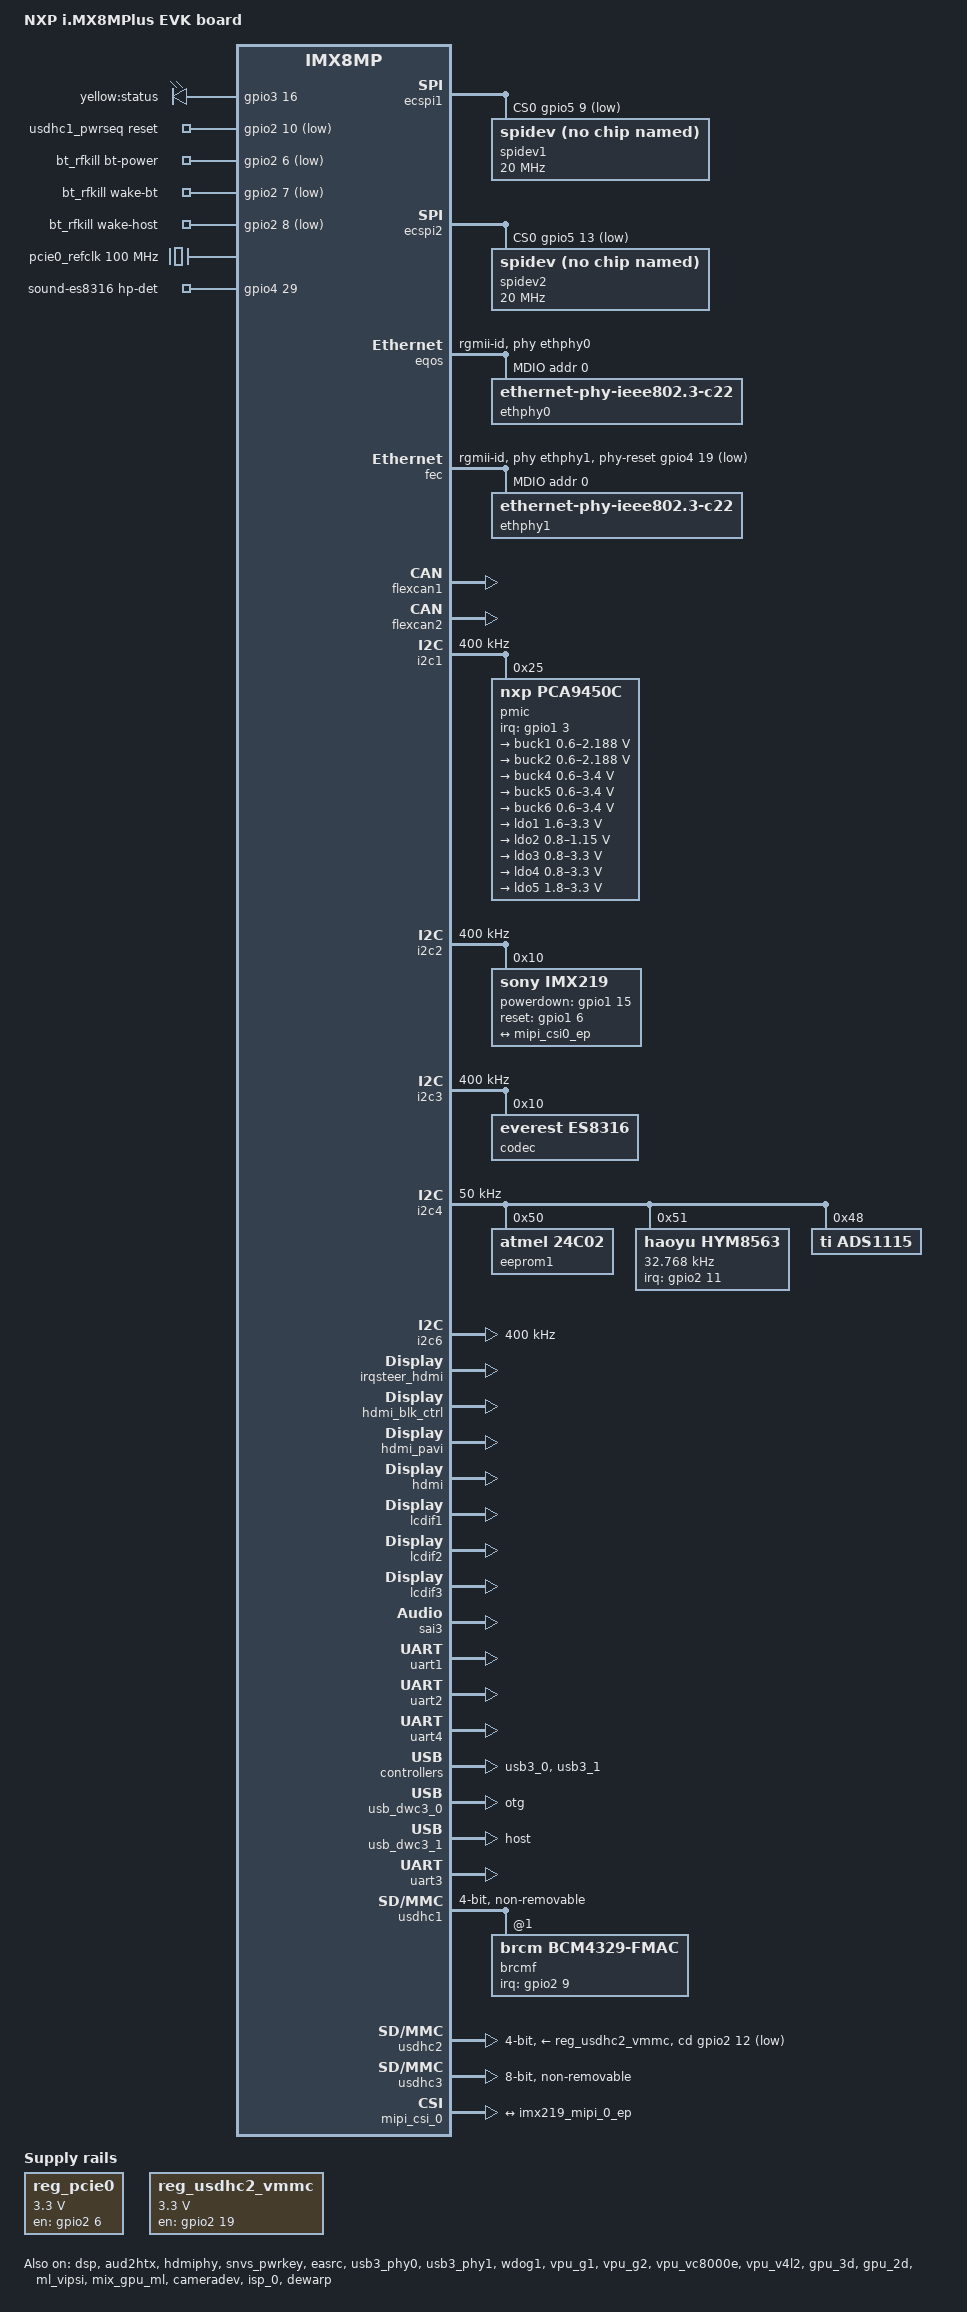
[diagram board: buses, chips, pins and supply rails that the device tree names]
// SPDX-License-Identifier: (GPL-2.0+ OR MIT)
/*
 * Copyright 2019 NXP
 */

/dts-v1/;

#include <dt-bindings/phy/phy-imx8-pcie.h>
#include <dt-bindings/usb/pd.h>
#include "imx8mp.dtsi"

/ {
	model = "NXP i.MX8MPlus EVK board";
	compatible = "fsl,imx8mp-evk", "fsl,imx8mp";

	chosen {
		stdout-path = &uart2;
	};

	gpio-leds {
		compatible = "gpio-leds";
		pinctrl-names = "default";
		pinctrl-0 = <&pinctrl_gpio_led>;

		status {
			label = "yellow:status";
			gpios = <&gpio3 16 GPIO_ACTIVE_HIGH>;
			default-state = "on";
		};
	};
/*
	memory@40000000 {
		device_type = "memory";
		reg = <0x0 0x40000000 0 0xc0000000>,
		      <0x1 0x00000000 0 0xc0000000>;
	}; */

	usdhc1_pwrseq: usdhc1_pwrseq {
		compatible = "mmc-pwrseq-simple";
		pinctrl-names = "default";
		pinctrl-0 = <&pinctrl_wlan_reg_on>;  
		reset-gpios = <&gpio2 10 GPIO_ACTIVE_LOW>;
  	};

	bt_rfkill {
		compatible = "fsl,mxc_bt_rfkill";
		pinctrl-names = "default";
		pinctrl-0 = <&pinctrl_bt_ctrl>;
		bt-power-gpios = <&gpio2 6 GPIO_ACTIVE_LOW>;
		wake-bt-gpios =  <&gpio2 7 GPIO_ACTIVE_LOW>;
		wake-host-gpios = <&gpio2 8 GPIO_ACTIVE_LOW>;
		status ="okay";
	};

	pcie0_refclk: pcie0-refclk {
		compatible = "fixed-clock";
		#clock-cells = <0>;
		clock-frequency = <100000000>;
	};
/*
	reg_can1_stby: regulator-can1-stby {
		compatible = "regulator-fixed";
		regulator-name = "can1-stby";
		pinctrl-names = "default";
		pinctrl-0 = <&pinctrl_flexcan1_reg>;
		regulator-min-microvolt = <3300000>;
		regulator-max-microvolt = <3300000>;
		gpio = <&gpio5 5 GPIO_ACTIVE_HIGH>;
		enable-active-high;
	};

	reg_can2_stby: regulator-can2-stby {
		compatible = "regulator-fixed";
		regulator-name = "can2-stby";
		pinctrl-names = "default";
		pinctrl-0 = <&pinctrl_flexcan2_reg>;
		regulator-min-microvolt = <3300000>;
		regulator-max-microvolt = <3300000>;
		gpio = <&gpio4 27 GPIO_ACTIVE_HIGH>;
		enable-active-high;
	};
*/
	reg_pcie0: regulator-pcie {
		compatible = "regulator-fixed";
		pinctrl-names = "default";
		pinctrl-0 = <&pinctrl_pcie0_reg>;
		regulator-name = "MPCIE_3V3";
		regulator-min-microvolt = <3300000>;
		regulator-max-microvolt = <3300000>;
		gpio = <&gpio2 6 GPIO_ACTIVE_HIGH>;
		enable-active-high;
		regulator-always-on;
	};
/*
	reg_usb_vbus: regulator-vbus {
		compatible = "regulator-fixed";
		pinctrl-names = "default";
		pinctrl-0 = <&pinctrl_usb1_vbus>;
		regulator-name = "USB_VBUS";
		regulator-min-microvolt = <5000000>;
		regulator-max-microvolt = <5000000>;
		gpio = <&gpio1 14 GPIO_ACTIVE_HIGH>;
		enable-active-high;
		regulator-always-on;
	};
*/
	reg_usdhc2_vmmc: regulator-usdhc2 {
		compatible = "regulator-fixed";
		pinctrl-names = "default";
		pinctrl-0 = <&pinctrl_reg_usdhc2_vmmc>;
		regulator-name = "VSD_3V3";
		regulator-min-microvolt = <3300000>;
		regulator-max-microvolt = <3300000>;
		gpio = <&gpio2 19 GPIO_ACTIVE_HIGH>;
		enable-active-high;
	};
/*
	reg_audio_pwr: regulator-audio-pwr {
		compatible = "regulator-fixed";
		regulator-name = "audio-pwr";
		regulator-min-microvolt = <3300000>;
		regulator-max-microvolt = <3300000>;
		gpio = <&gpio4 29 GPIO_ACTIVE_HIGH>;
		enable-active-high;
		regulator-always-on;
	};

	bt_sco_codec: bt_sco_codec {
		#sound-dai-cells = <1>;
		compatible = "linux,bt-sco";
	};

	sound-bt-sco {
		compatible = "simple-audio-card";
		simple-audio-card,name = "bt-sco-audio";
		simple-audio-card,format = "dsp_a";
		simple-audio-card,bitclock-inversion;
		simple-audio-card,frame-master = <&btcpu>;
		simple-audio-card,bitclock-master = <&btcpu>;

		btcpu: simple-audio-card,cpu {
			sound-dai = <&sai2>;
			dai-tdm-slot-num = <2>;
			dai-tdm-slot-width = <16>;
		};

		simple-audio-card,codec {
			sound-dai = <&bt_sco_codec 1>;
		};
	};
*/
	sound-hdmi {
		compatible = "fsl,imx-audio-hdmi";
		model = "audio-hdmi";
		audio-cpu = <&aud2htx>;
		hdmi-out;
		constraint-rate = <44100>,
				<88200>,
				<176400>,
				<32000>,
				<48000>,
				<96000>,
				<192000>;
		status = "okay";
	};
/*
	sound-wm8960 {
		compatible = "fsl,imx-audio-wm8960";
		model = "wm8960-audio";
		audio-cpu = <&sai3>;
		audio-codec = <&codec>;
		audio-asrc = <&easrc>;
		hp-det-gpio = <&gpio4 28 0>;
		audio-routing =
			"Headphone Jack", "HP_L",
			"Headphone Jack", "HP_R",
			"Ext Spk", "SPK_LP",
			"Ext Spk", "SPK_LN",
			"Ext Spk", "SPK_RP",
			"Ext Spk", "SPK_RN",
			"LINPUT1", "Mic Jack",
			"LINPUT3", "Mic Jack",
			"Mic Jack", "MICB";
	};

	sound-micfil {
		compatible = "fsl,imx-audio-card";
		model = "micfil-audio";
		pri-dai-link {
			link-name = "micfil hifi";
			format = "i2s";
			cpu {
				sound-dai = <&micfil>;
			};
		};
	};

	sound-xcvr {
		compatible = "fsl,imx-audio-card";
		model = "imx-audio-xcvr";
		pri-dai-link {
			link-name = "XCVR PCM";
			cpu {
				sound-dai = <&xcvr>;
			};
		};
	};
*/
	sound-es8316 {
		compatible = "fsl,imx-audio-es8316";
		model = "es8316-audio";
		audio-cpu = <&sai3>;
		audio-codec = <&codec>;
		//audio-asrc = <&easrc>;
		format = "i2s";
		hp-det-gpio = <&gpio4 29 GPIO_ACTIVE_HIGH>;
	//	mic-det-gpio = <&gpio4 29 GPIO_ACTIVE_HIGH>;
		//jack-gpio = <&gpio4 29 GPIO_ACTIVE_HIGH>;
		//audio-widgets = 
			//"Microphone", "Mic Jack",
			//"Headphone", "Headphone Jack";

		audio-routing =
			"Mic Jack", "MIC2",
			//"MIC2", "Mic Jack",
			//"MIC2", "DMIC",
			"Headphone Jack", "HPOL",
			"Headphone Jack", "HPOR";
	};

	lvds_backlight: lvds_backlight {
		compatible = "pwm-backlight";
		pwms = <&pwm2 0 100000 0>;
		status = "disabled";

		brightness-levels = < 0  1  2  3  4  5  6  7  8  9
				     10 11 12 13 14 15 16 17 18 19
				     20 21 22 23 24 25 26 27 28 29
				     30 31 32 33 34 35 36 37 38 39
				     40 41 42 43 44 45 46 47 48 49
				     50 51 52 53 54 55 56 57 58 59
				     60 61 62 63 64 65 66 67 68 69
				     70 71 72 73 74 75 76 77 78 79
				     80 81 82 83 84 85 86 87 88 89
				     90 91 92 93 94 95 96 97 98 99
				    100>;
		default-brightness-level = <80>;
	};
/*
	cbtl04gp {
		compatible = "nxp,cbtl04gp";
		pinctrl-names = "default";
		pinctrl-0 = <&pinctrl_typec_mux>;
		switch-gpios = <&gpio4 20 GPIO_ACTIVE_LOW>;
		orientation-switch;

		port {
			usb3_data_ss: endpoint {
				remote-endpoint = <&typec_con_ss>;
			};
		};
	};
*/
};

&flexspi {
	pinctrl-names = "default";
	pinctrl-0 = <&pinctrl_flexspi0>;
	status = "disabled";

	flash@0 {
		compatible = "jedec,spi-nor";
		reg = <0>;
		spi-max-frequency = <80000000>;
		spi-tx-bus-width = <1>;
		spi-rx-bus-width = <4>;
	};
};

&A53_0 {
	cpu-supply = <&buck2>;
};

&A53_1 {
	cpu-supply = <&buck2>;
};

&A53_2 {
	cpu-supply = <&buck2>;
};

&A53_3 {
	cpu-supply = <&buck2>;
};

&dsp {
	status = "okay";
};

&pwm1 {
	pinctrl-names = "default";
	pinctrl-0 = <&pinctrl_pwm1>;
	status = "disabled";
};

&pwm2 {
	pinctrl-names = "default";
	pinctrl-0 = <&pinctrl_pwm2>;
	status = "disabled";
};
/*
&pwm4 {
	pinctrl-names = "default";
	pinctrl-0 = <&pinctrl_pwm4>;
	status = "disabled";
};
*/
&aud2htx {
	status = "okay";
};

&ecspi1 {
	#address-cells = <1>;
	#size-cells = <0>;
	fsl,spi-num-chipselects = <1>;
	pinctrl-names = "default";
	pinctrl-0 = <&pinctrl_ecspi1 &pinctrl_ecspi1_cs>;
	cs-gpios = <&gpio5 9 GPIO_ACTIVE_LOW>;
	status = "okay";
	spidev1: spi@0 {
		reg = <0>;
		compatible = "rohm,dh2228fv";
		spi-max-frequency = <20000000>;
	};
};

&ecspi2 {
	#address-cells = <1>;
	#size-cells = <0>;
	fsl,spi-num-chipselects = <1>;
	pinctrl-names = "default";
	pinctrl-0 = <&pinctrl_ecspi2 &pinctrl_ecspi2_cs>;
	cs-gpios = <&gpio5 13 GPIO_ACTIVE_LOW>;
	status = "okay";

	spidev2: spi@0 {
		reg = <0>;
		compatible = "rohm,dh2228fv";
		spi-max-frequency = <20000000>;
	};
};

&eqos {
	pinctrl-names = "default";
	pinctrl-0 = <&pinctrl_eqos>;
	phy-mode = "rgmii-id";
	phy-handle = <&ethphy0>;
	snps,force_thresh_dma_mode;
	snps,mtl-tx-config = <&mtl_tx_setup>;
	snps,mtl-rx-config = <&mtl_rx_setup>;
	snps,reset-gpios = <&gpio4 18 GPIO_ACTIVE_LOW>;
	snps,reset-delays-us = <10 20 200000>;
	status = "okay";

	mdio {
		compatible = "snps,dwmac-mdio";
		#address-cells = <1>;
		#size-cells = <0>;
		ethphy0: ethernet-phy@0 {
			compatible = "ethernet-phy-ieee802.3-c22";
			reg = <0>;
			// eee-broken-1000t;
			// reset-gpios = <&gpio4 22 GPIO_ACTIVE_LOW>;
			// reset-assert-us = <10000>;
			// reset-deassert-us = <80000>;
			// realtek,clkout-disable;
			at803x,led-act-blind-workaround;
			at803x,eee-disabled;
			at803x,vddio-1p8v;
		};
	};

	mtl_tx_setup: tx-queues-config {
		snps,tx-queues-to-use = <5>;
		snps,tx-sched-sp;

		queue0 {
			snps,dcb-algorithm;
			snps,priority = <0x1>;
		};

		queue1 {
			snps,dcb-algorithm;
			snps,priority = <0x2>;
		};

		queue2 {
			snps,dcb-algorithm;
			snps,priority = <0x4>;
		};

		queue3 {
			snps,dcb-algorithm;
			snps,priority = <0x8>;
		};

		queue4 {
			snps,dcb-algorithm;
			snps,priority = <0xf0>;
		};
	};

	mtl_rx_setup: rx-queues-config {
		snps,rx-queues-to-use = <5>;
		snps,rx-sched-sp;

		queue0 {
			snps,dcb-algorithm;
			snps,priority = <0x1>;
			snps,map-to-dma-channel = <0>;
		};

		queue1 {
			snps,dcb-algorithm;
			snps,priority = <0x2>;
			snps,map-to-dma-channel = <1>;
		};

		queue2 {
			snps,dcb-algorithm;
			snps,priority = <0x4>;
			snps,map-to-dma-channel = <2>;
		};

		queue3 {
			snps,dcb-algorithm;
			snps,priority = <0x8>;
			snps,map-to-dma-channel = <3>;
		};

		queue4 {
			snps,dcb-algorithm;
			snps,priority = <0xf0>;
			snps,map-to-dma-channel = <4>;
		};
	};
};

&fec {
	pinctrl-names = "default";
	pinctrl-0 = <&pinctrl_fec>;
	phy-mode = "rgmii-id";
	phy-handle = <&ethphy1>;
	fsl,magic-packet;
	fsl,rgmii_rxc_dly;
	phy-reset-gpios = <&gpio4 19 GPIO_ACTIVE_LOW>;
	phy-reset-duration = <10>;
	phy-reset-post-delay = <150>;
	status = "okay";

	mdio {
		#address-cells = <1>;
		#size-cells = <0>;

		ethphy1: ethernet-phy@0 {
			compatible = "ethernet-phy-ieee802.3-c22";
			reg = <0>;
			//eee-broken-1000t;
			//reset-gpios = <&gpio4 2 GPIO_ACTIVE_LOW>;
			//reset-assert-us = <10000>;
			//reset-deassert-us = <80000>;
			//realtek,aldps-enable;
			//realtek,clkout-disable;
			at803x,led-act-blind-workaround;
			at803x,eee-disabled;
			at803x,vddio-1p8v;
		};
	};
};

&flexcan1 {
	pinctrl-names = "default";
	pinctrl-0 = <&pinctrl_flexcan1>;
	//xceiver-supply = <&reg_can1_stby>;
	status = "okay";
};

&flexcan2 {
	pinctrl-names = "default";
	pinctrl-0 = <&pinctrl_flexcan2>;
	//xceiver-supply = <&reg_can2_stby>;
	//pinctrl-assert-gpios = <&pca6416 3 GPIO_ACTIVE_HIGH>;
	status = "okay";/* can2 pin conflict with pdm */
};

&i2c1 {
	clock-frequency = <400000>;
	pinctrl-names = "default";
	pinctrl-0 = <&pinctrl_i2c1>;
	status = "okay";

	pmic@25 {
		compatible = "nxp,pca9450c";
		reg = <0x25>;
		pinctrl-names = "default";
		pinctrl-0 = <&pinctrl_pmic>;
		interrupt-parent = <&gpio1>;
		interrupts = <3 IRQ_TYPE_LEVEL_LOW>;

		regulators {
			buck1: BUCK1 {
				regulator-name = "BUCK1";
				regulator-min-microvolt = <600000>;
				regulator-max-microvolt = <2187500>;
				regulator-boot-on;
				regulator-always-on;
				regulator-ramp-delay = <3125>;
			};

			buck2: BUCK2 {
				regulator-name = "BUCK2";
				regulator-min-microvolt = <600000>;
				regulator-max-microvolt = <2187500>;
				regulator-boot-on;
				regulator-always-on;
				regulator-ramp-delay = <3125>;
				nxp,dvs-run-voltage = <950000>;
				nxp,dvs-standby-voltage = <850000>;
			};

			buck4: BUCK4{
				regulator-name = "BUCK4";
				regulator-min-microvolt = <600000>;
				regulator-max-microvolt = <3400000>;
				regulator-boot-on;
				regulator-always-on;
			};

			buck5: BUCK5{
				regulator-name = "BUCK5";
				regulator-min-microvolt = <600000>;
				regulator-max-microvolt = <3400000>;
				regulator-boot-on;
				regulator-always-on;
			};

			buck6: BUCK6 {
				regulator-name = "BUCK6";
				regulator-min-microvolt = <600000>;
				regulator-max-microvolt = <3400000>;
				regulator-boot-on;
				regulator-always-on;
			};

			ldo1: LDO1 {
				regulator-name = "LDO1";
				regulator-min-microvolt = <1600000>;
				regulator-max-microvolt = <3300000>;
				regulator-boot-on;
				regulator-always-on;
			};

			ldo2: LDO2 {
				regulator-name = "LDO2";
				regulator-min-microvolt = <800000>;
				regulator-max-microvolt = <1150000>;
				regulator-boot-on;
				regulator-always-on;
			};

			ldo3: LDO3 {
				regulator-name = "LDO3";
				regulator-min-microvolt = <800000>;
				regulator-max-microvolt = <3300000>;
				regulator-boot-on;
				regulator-always-on;
			};

			ldo4: LDO4 {
				regulator-name = "LDO4";
				regulator-min-microvolt = <800000>;
				regulator-max-microvolt = <3300000>;
				regulator-boot-on;
				regulator-always-on;
			};

			ldo5: LDO5 {
				regulator-name = "LDO5";
				regulator-min-microvolt = <1800000>;
				regulator-max-microvolt = <3300000>;
				regulator-boot-on;
				regulator-always-on;
			};
		};
	};
};

&i2c2 {
	clock-frequency = <400000>;
	pinctrl-names = "default";
	pinctrl-0 = <&pinctrl_i2c2>;
	status = "okay";
	imx219: imx219@10 {
		compatible = "sony,imx219";
 		reg = <0x10>;
 		pinctrl-names = "default";
 		pinctrl-0 = <&pinctrl_csi0_rst> ,<&pinctrl_csi0_pwn>; 
 		csi_id = <0>;
 		powerdown-gpios = <&gpio1 15 GPIO_ACTIVE_HIGH>;
 		reset-gpios = <&gpio1 6 GPIO_ACTIVE_HIGH>;
		
 		mipi_csi;
 		status = "okay";

 		port {
 			imx219_mipi_0_ep: endpoint {
 				remote-endpoint = <&mipi_csi0_ep>;
 				data-lanes = <1 2>;
 				clock-lanes = <0>;
 				clock-noncontinuous;
 				link-frequencies = /bits/ 64 <456000000>;
 	
 			};
 		};
 	};
#if 0 
	adv_bridge: adv7535@3d {
		compatible = "adi,adv7535";
		reg = <0x3d>;
		adi,addr-cec = <0x3b>;
		adi,dsi-lanes = <4>;
		status = "okay";

		port {
			adv7535_from_dsim: endpoint {
				remote-endpoint = <&dsim_to_adv7535>;
			};
		};
	};

	lvds_bridge: lvds-to-hdmi-bridge@4c {
		compatible = "ite,it6263";
		reg = <0x4c>;
		reset-gpios = <&gpio1 10 GPIO_ACTIVE_LOW>;

		port {
			it6263_in: endpoint {
				remote-endpoint = <&lvds_out>;
			};
		};
	};

	ov5640_0: ov5640_mipi@3c {
		compatible = "ovti,ov5640";
		reg = <0x3c>;
		pinctrl-names = "default";
		pinctrl-0 = <&pinctrl_csi0_pwn>, <&pinctrl_csi0_rst>, <&pinctrl_csi_mclk>;
		clocks = <&clk IMX8MP_CLK_IPP_DO_CLKO2>;
		clock-names = "xclk";
		assigned-clocks = <&clk IMX8MP_CLK_IPP_DO_CLKO2>;
		assigned-clock-parents = <&clk IMX8MP_CLK_24M>;
		assigned-clock-rates = <24000000>;
		csi_id = <0>;
		powerdown-gpios = <&gpio2 11 GPIO_ACTIVE_HIGH>;
		reset-gpios = <&gpio1 6 GPIO_ACTIVE_LOW>;
		mclk = <24000000>;
		mclk_source = <0>;
		mipi_csi;
		status = "okay";

		port {
			ov5640_mipi_0_ep: endpoint {
				remote-endpoint = <&mipi_csi0_ep>;
				data-lanes = <1 2>;
				clock-lanes = <0>;
			};
		};
	};

	ptn5110: tcpc@50 {
		compatible = "nxp,ptn5110";
		pinctrl-names = "default";
		pinctrl-0 = <&pinctrl_typec>;
		reg = <0x50>;
		interrupt-parent = <&gpio4>;
		interrupts = <19 8>;

		port {
			typec_dr_sw: endpoint {
				remote-endpoint = <&usb3_drd_sw>;
			};
		};

		usb_con: connector {
			compatible = "usb-c-connector";
			label = "USB-C";
			power-role = "dual";
			data-role = "dual";
			try-power-role = "sink";
			source-pdos = <PDO_FIXED(5000, 3000, PDO_FIXED_USB_COMM)>;
			sink-pdos = <PDO_FIXED(5000, 3000, PDO_FIXED_USB_COMM)
				     PDO_VAR(5000, 20000, 3000)>;
			op-sink-microwatt = <15000000>;
			self-powered;

			ports {
				#address-cells = <1>;
				#size-cells = <0>;

				port@1 {
					reg = <1>;
					typec_con_ss: endpoint {
						remote-endpoint = <&usb3_data_ss>;
					};
				};
			};
		};
	};
#endif
};

&i2c3 {
	clock-frequency = <400000>;
	pinctrl-names = "default";
	pinctrl-0 = <&pinctrl_i2c3>;
	status = "okay";
#if 0
	pca6416: gpio@20 {
		compatible = "ti,tca6416";
		reg = <0x20>;
		gpio-controller;
		#gpio-cells = <2>;
		interrupt-controller;
		#interrupt-cells = <2>;
		pinctrl-names = "default";
		pinctrl-0 = <&pinctrl_pca6416_int>;
		interrupt-parent = <&gpio1>;
		interrupts = <12 IRQ_TYPE_LEVEL_LOW>;
		gpio-line-names = "EXT_PWREN1",
			"EXT_PWREN2",
			"CAN1/I2C5_SEL",
			"PDM/CAN2_SEL",
			"FAN_EN",
			"PWR_MEAS_IO1",
			"PWR_MEAS_IO2",
			"EXP_P0_7",
			"EXP_P1_0",
			"EXP_P1_1",
			"EXP_P1_2",
			"EXP_P1_3",
			"EXP_P1_4",
			"EXP_P1_5",
			"EXP_P1_6",
			"EXP_P1_7";
	};

	codec: wm8960@1a {
		compatible = "wlf,wm8960";
		reg = <0x1a>;
		clocks = <&audio_blk_ctrl IMX8MP_CLK_AUDIOMIX_SAI3_MCLK1>;
		clock-names = "mclk";
		wlf,shared-lrclk;
		wlf,hp-cfg = <3 2 3>;
		wlf,gpio-cfg = <1 3>;
		SPKVDD1-supply = <&reg_audio_pwr>;
	};

	ov5640_1: ov5640_mipi@3c {
		compatible = "ovti,ov5640";
		reg = <0x3c>;
		pinctrl-names = "default";
		pinctrl-0 = <&pinctrl_csi0_pwn>, <&pinctrl_csi0_rst>, <&pinctrl_csi_mclk>;
		clocks = <&clk IMX8MP_CLK_IPP_DO_CLKO2>;
		clock-names = "xclk";
		assigned-clocks = <&clk IMX8MP_CLK_IPP_DO_CLKO2>;
		assigned-clock-parents = <&clk IMX8MP_CLK_24M>;
		assigned-clock-rates = <24000000>;
		csi_id = <0>;
		powerdown-gpios = <&gpio4 1 GPIO_ACTIVE_HIGH>;
		reset-gpios = <&gpio4 0 GPIO_ACTIVE_LOW>;
		mclk = <24000000>;
		mclk_source = <0>;
		mipi_csi;
		status = "disabled";

		port {
			ov5640_mipi_1_ep: endpoint {
				remote-endpoint = <&mipi_csi1_ep>;
				data-lanes = <1 2>;
				clock-lanes = <0>;
			};
		};
	};
#endif
	codec: es8316@10 {
		compatible = "everest,es8316";
		reg = <0x10>;
		clocks = <&audio_blk_ctrl IMX8MP_CLK_AUDIOMIX_SAI3_MCLK1>;
		clock-names = "mclk";
	};
};

&i2c4 {
	clock-frequency = <50000>;
	pinctrl-names = "default";
	pinctrl-0 = <&pinctrl_i2c4>;
	status = "okay";
	
	eeprom1: eeprom@50 {
		compatible = "atmel,24c02";
		reg = <0x50>;
		pagesize = <16>;
	};
	
	hym8563: hym8563@51 {
		compatible = "haoyu,hym8563";
		reg = <0x51>;
		#clock-cells = <0>;
		clock-frequency = <32768>;
		clock-output-names = "xin32k";
		init_date="2022/04/12";
		interrupt-parent = <&gpio2>;
		interrupts = <11 IRQ_TYPE_EDGE_FALLING>;
		
		pinctrl-names = "default";
		pinctrl-0 = <&pinctrl_rtc_int>;
	};
	ads1115: ads1115@48 {
		 compatible = "ti,ads1115";
		 status = "okay";
		 #address-cells = <1>;
		 #size-cells = <0>;
		 reg = <0x48>;

		 channel@4 {
			 reg = <4>;
			 ti,gain = <1>;
			 ti,datarate = <4>;
		 };
		 channel@5 {
			 reg = <5>;
			 ti,gain = <1>;
			 ti,datarate = <4>;
		 };
		 channel@3 {
			 reg = <3>;
			 ti,gain = <1>;
			 ti,datarate = <4>;
		 };
		 channel@6 {
			 reg = <6>;
			 ti,gain = <1>;
			 ti,datarate = <4>;
		 };

		 channel@7 {
			 reg = <7>;
			 ti,gain = <1>;
			 ti,datarate = <4>;
		 };
	 };

};

#if 0
/* I2C on expansion connector J22. */
&i2c5 {
	clock-frequency = <100000>; /* Lower clock speed for external bus. */
	pinctrl-names = "default";
	pinctrl-0 = <&pinctrl_i2c5>;
	status = "disabled"; /* can1 pins conflict with i2c5 */

	/* GPIO 2 of PCA6416 is used to switch between CAN1 and I2C5 functions:
	 *     LOW:  CAN1 (default, pull-down)
	 *     HIGH: I2C5
	 * You need to set it to high to enable I2C5 (for example, add gpio-hog
	 * in pca6416 node).
	 */
};
#endif

&i2c6 {
	clock-frequency = <400000>;
	pinctrl-names = "default";
	pinctrl-0 = <&pinctrl_i2c6>;
	status = "okay";
};



&irqsteer_hdmi {
	status = "okay";
};

&hdmi_blk_ctrl {
	status = "okay";
};

&hdmi_pavi {
	status = "okay";
};

&hdmi {
	status = "okay";
};

&hdmiphy {
	status = "okay";
};

&lcdif1 {
	status = "okay";
};

&lcdif2 {
	status = "okay";
};

&lcdif3 {
	status = "okay";

	thres-low  = <1 2>;             /* (FIFO * 1 / 2) */
	thres-high = <3 4>;             /* (FIFO * 3 / 4) */
};

&ldb {
	status = "disabled";
#if 0
	lvds-channel@0 {
		status = "okay";

		port@1 {
			reg = <1>;

			lvds_out: endpoint {
				remote-endpoint = <&it6263_in>;
			};
		};
	};
#endif
};

&ldb_phy {
	status = "disabled";
};

&mipi_dsi {
	status = "disabled";

#if 0
	port@1 {
		dsim_to_adv7535: endpoint {
			remote-endpoint = <&adv7535_from_dsim>;
			attach-bridge;
		};
	};
#endif
};

&pcie_phy {
	fsl,refclk-pad-mode = <IMX8_PCIE_REFCLK_PAD_INPUT>;
	clocks = <&pcie0_refclk>;
	clock-names = "ref";
	status = "disabled";
};

&pcie {
	pinctrl-names = "default";
	pinctrl-0 = <&pinctrl_pcie0>;
	reset-gpio = <&gpio4 27 GPIO_ACTIVE_LOW>;
	//host-wake-gpio = <&gpio5 21 GPIO_ACTIVE_LOW>;
	vpcie-supply = <&reg_pcie0>;
	status = "disabled";
};
#if 0
&sai2 {
	#sound-dai-cells = <0>;
	pinctrl-names = "default";
	pinctrl-0 = <&pinctrl_sai2>;
	assigned-clocks = <&clk IMX8MP_CLK_SAI2>;
	assigned-clock-parents = <&clk IMX8MP_AUDIO_PLL1_OUT>;
	assigned-clock-rates = <12288000>;
	fsl,sai-mclk-direction-output;
	status = "okay";
};
#endif
&snvs_pwrkey {
	status = "okay";
};

&easrc {
	fsl,asrc-rate  = <48000>;
	status = "okay";
};
#if 0
&micfil {
	#sound-dai-cells = <0>;
	pinctrl-names = "default";
	pinctrl-0 = <&pinctrl_pdm>;
	assigned-clocks = <&clk IMX8MP_CLK_PDM>;
	assigned-clock-parents = <&clk IMX8MP_AUDIO_PLL1_OUT>;
	assigned-clock-rates = <196608000>;
	status = "okay";
};
#endif
&sai3 {
	pinctrl-names = "default";
	pinctrl-0 = <&pinctrl_sai3>;
	assigned-clocks = <&clk IMX8MP_CLK_SAI3>;
	assigned-clock-parents = <&clk IMX8MP_AUDIO_PLL1_OUT>;
	assigned-clock-rates = <12288000>;
	//assigned-clock-rates = <11289600>;
	clocks = <&audio_blk_ctrl IMX8MP_CLK_AUDIOMIX_SAI3_IPG>, <&clk IMX8MP_CLK_DUMMY>,
		 <&audio_blk_ctrl IMX8MP_CLK_AUDIOMIX_SAI3_MCLK1>, <&clk IMX8MP_CLK_DUMMY>,
		 <&clk IMX8MP_CLK_DUMMY>;
	clock-names = "bus", "mclk0", "mclk1", "mclk2", "mclk3";
	fsl,sai-mclk-direction-output;
	status = "okay";
};
#if 0
&xcvr {
	#sound-dai-cells = <0>;
	status = "okay";
};
#endif
&sdma2 {
	status = "okay";
};

&uart1 { /* BT */
	pinctrl-names = "default";
	pinctrl-0 = <&pinctrl_uart1>;
	assigned-clocks = <&clk IMX8MP_CLK_UART1>;
	assigned-clock-parents = <&clk IMX8MP_SYS_PLL1_80M>;
	uart-has-rtscts;
	status = "okay";

//	bluetooth {
//		compatible = "nxp,88w8997-bt";
//	};
};


&uart2 {
	/* console */
	pinctrl-names = "default";
	pinctrl-0 = <&pinctrl_uart2>;
	status = "okay";
};

&uart4 {
	pinctrl-names = "default";
	pinctrl-0 = <&pinctrl_uart4>;
	status = "okay";
};

&usb3_phy0 {
//	fsl,phy-tx-vref-tune = <0xe>;
//	fsl,phy-tx-preemp-amp-tune = <3>;
//	fsl,phy-tx-vboost-level = <5>;
//	fsl,phy-comp-dis-tune = <7>;
//	fsl,pcs-tx-deemph-3p5db = <0x21>;
//	fsl,phy-pcs-tx-swing-full = <0x7f>;
	status = "okay";
};

&usb3_0 {
	status = "okay";
};

&usb_dwc3_0 {
	//dr_mode = "host";
	dr_mode = "otg";
	hnp-disable;
	srp-disable;
	adp-disable;
	usb-role-switch;
	//role-switch-default-mode = "none";
	snps,dis-u1-entry-quirk;
	snps,dis-u2-entry-quirk;
	status = "okay";

	/*port {
		usb3_drd_sw: endpoint {
			remote-endpoint = <&typec_dr_sw>;
		};
	};*/
};

&usb3_phy1 {
	fsl,phy-tx-preemp-amp-tune = <3>;
	fsl,phy-tx-vref-tune = <0xb>;
	status = "okay";
};

&usb3_1 {
	status = "okay";
};

&usb_dwc3_1 {
	//vbus-supply = <&reg_usb_vbus>;
	pinctrl-names = "default";
	pinctrl-0 = <&pinctrl_usb1_vbus>;
	hub-pwd-gpio = <&gpio4 26 GPIO_ACTIVE_LOW>;
	hub-reset-gpio = <&gpio4 25 GPIO_ACTIVE_LOW>;
	dr_mode = "host";
	status = "okay";
};

&uart3 {
	pinctrl-names = "default";
	pinctrl-0 = <&pinctrl_uart3>;
	//assigned-clocks = <&clk IMX8MP_CLK_UART3>;
	//assigned-clock-parents = <&clk IMX8MP_SYS_PLL1_80M>;
	//uart-has-rtscts;
	status = "okay";
};

/*WIFI BUS */
&usdhc1 {
	#address-cells = <1>;
	#size-cells = <0>;
	pinctrl-names = "default", "state_100mhz", "state_200mhz";
	pinctrl-0 = <&pinctrl_usdhc1>, <&pinctrl_wlan_wake_host>;
	pinctrl-1 = <&pinctrl_usdhc1_100mhz>, <&pinctrl_wlan_wake_host>;
	pinctrl-2 = <&pinctrl_usdhc1_200mhz>, <&pinctrl_wlan_wake_host>;
	bus-width = <4>;
	pm-ignore-notify;
	keep-power-in-suspend;
	non-removable;
	cap-power-off-card;
	/delete-property/ vmmc-supply;
	mmc-pwrseq = <&usdhc1_pwrseq>;
	status = "okay";
	max-frequency = <100000000>;

	brcmf: bcrmf@1 {
		reg = <1>;
		compatible = "brcm,bcm4329-fmac";
		interrupt-parent = <&gpio2>;
		interrupts = <9 IRQ_TYPE_LEVEL_HIGH>; //wlan wake host
		interrupt-names = "host-wake";
	};
};

/*TF Card */
&usdhc2 {
	assigned-clocks = <&clk IMX8MP_CLK_USDHC2>;
	assigned-clock-rates = <400000000>;
	pinctrl-names = "default", "state_100mhz", "state_200mhz";
	pinctrl-0 = <&pinctrl_usdhc2>, <&pinctrl_usdhc2_gpio>;
	pinctrl-1 = <&pinctrl_usdhc2_100mhz>, <&pinctrl_usdhc2_gpio>;
	pinctrl-2 = <&pinctrl_usdhc2_200mhz>, <&pinctrl_usdhc2_gpio>;
	cd-gpios = <&gpio2 12 GPIO_ACTIVE_LOW>;
	vmmc-supply = <&reg_usdhc2_vmmc>;
	bus-width = <4>;
	status = "okay";
};

/*emmc*/
&usdhc3 {
	assigned-clocks = <&clk IMX8MP_CLK_USDHC3>;
	assigned-clock-rates = <400000000>;
	pinctrl-names = "default", "state_100mhz", "state_200mhz";
	pinctrl-0 = <&pinctrl_usdhc3>;
	pinctrl-1 = <&pinctrl_usdhc3_100mhz>;
	pinctrl-2 = <&pinctrl_usdhc3_200mhz>;
	bus-width = <8>;
	non-removable;
	status = "okay";
};

&wdog1 {
	pinctrl-names = "default";
	pinctrl-0 = <&pinctrl_wdog>;
	fsl,ext-reset-output;
	status = "okay";
};

&iomuxc {
	pinctrl-names = "default";
	pinctrl-0 = <&pinctrl_hog>;

	pinctrl_hog: hoggrp {
		fsl,pins = <
			MX8MP_IOMUXC_HDMI_DDC_SCL__HDMIMIX_HDMI_SCL	0x400001c2
			MX8MP_IOMUXC_HDMI_DDC_SDA__HDMIMIX_HDMI_SDA	0x400001c2
			MX8MP_IOMUXC_HDMI_HPD__HDMIMIX_HDMI_HPD		0x40000010
			MX8MP_IOMUXC_HDMI_CEC__HDMIMIX_HDMI_CEC		0x40000010
			/*
			 * M.2 pin20 & pin21 need to be set to 11 for 88W9098 to select the
			 * default Reference Clock Frequency
			 */
			//MX8MP_IOMUXC_SD1_DATA7__GPIO2_IO09		0x1c4
		>;
	};

	pinctrl_pwm1: pwm1grp {
		fsl,pins = <
			MX8MP_IOMUXC_GPIO1_IO01__PWM1_OUT	0x116
		>;
	};

	pinctrl_pwm2: pwm2grp {
		fsl,pins = <
			//MX8MP_IOMUXC_GPIO1_IO11__PWM2_OUT	0x116
		>;
	};
/*
	pinctrl_pwm4: pwm4grp {
		fsl,pins = <
			MX8MP_IOMUXC_SAI5_RXFS__PWM4_OUT	0x116
		>;
	};
*/
	pinctrl_ecspi1: ecspi1grp {
		fsl,pins = <
			MX8MP_IOMUXC_ECSPI1_SCLK__ECSPI1_SCLK		0x82
			MX8MP_IOMUXC_ECSPI1_MOSI__ECSPI1_MOSI		0x82
			MX8MP_IOMUXC_ECSPI1_MISO__ECSPI1_MISO		0x82
		>;
	};
	
	pinctrl_ecspi1_cs: ecspi1cs {
		fsl,pins = <
			MX8MP_IOMUXC_ECSPI1_SS0__GPIO5_IO09		0x40000
		>;
	};

	pinctrl_ecspi2: ecspi2grp {
		fsl,pins = <
			MX8MP_IOMUXC_ECSPI2_SCLK__ECSPI2_SCLK		0x82
			MX8MP_IOMUXC_ECSPI2_MOSI__ECSPI2_MOSI		0x82
			MX8MP_IOMUXC_ECSPI2_MISO__ECSPI2_MISO		0x82
		>;
	};

	pinctrl_ecspi2_cs: ecspi2cs {
		fsl,pins = <
			MX8MP_IOMUXC_ECSPI2_SS0__GPIO5_IO13		0x40000
		>;
	};

	pinctrl_eqos: eqosgrp {
		fsl,pins = <
			MX8MP_IOMUXC_ENET_MDC__ENET_QOS_MDC				0x2
			MX8MP_IOMUXC_ENET_MDIO__ENET_QOS_MDIO				0x2
			MX8MP_IOMUXC_ENET_RD0__ENET_QOS_RGMII_RD0			0x90
			MX8MP_IOMUXC_ENET_RD1__ENET_QOS_RGMII_RD1			0x90
			MX8MP_IOMUXC_ENET_RD2__ENET_QOS_RGMII_RD2			0x90
			MX8MP_IOMUXC_ENET_RD3__ENET_QOS_RGMII_RD3			0x90
			MX8MP_IOMUXC_ENET_RXC__CCM_ENET_QOS_CLOCK_GENERATE_RX_CLK	0x90
			MX8MP_IOMUXC_ENET_RX_CTL__ENET_QOS_RGMII_RX_CTL			0x90
			MX8MP_IOMUXC_ENET_TD0__ENET_QOS_RGMII_TD0			0x16
			MX8MP_IOMUXC_ENET_TD1__ENET_QOS_RGMII_TD1			0x16
			MX8MP_IOMUXC_ENET_TD2__ENET_QOS_RGMII_TD2			0x16
			MX8MP_IOMUXC_ENET_TD3__ENET_QOS_RGMII_TD3			0x16
			MX8MP_IOMUXC_ENET_TX_CTL__ENET_QOS_RGMII_TX_CTL			0x16
			MX8MP_IOMUXC_ENET_TXC__CCM_ENET_QOS_CLOCK_GENERATE_TX_CLK	0x16
			//MX8MP_IOMUXC_SAI2_RXC__GPIO4_IO22				0x10
			MX8MP_IOMUXC_SAI1_RXFS__ENET1_1588_EVENT0_IN    0x16
			MX8MP_IOMUXC_SAI1_RXC__ENET1_1588_EVENT0_OUT    0x16
			MX8MP_IOMUXC_SAI1_TXD6__GPIO4_IO18		0x10
		>;
	};

	pinctrl_fec: fecgrp {
		fsl,pins = <
			MX8MP_IOMUXC_SAI1_RXD2__ENET1_MDC		0x2
			MX8MP_IOMUXC_SAI1_RXD3__ENET1_MDIO		0x2
			MX8MP_IOMUXC_SAI1_RXD4__ENET1_RGMII_RD0		0x90
			MX8MP_IOMUXC_SAI1_RXD5__ENET1_RGMII_RD1		0x90
			MX8MP_IOMUXC_SAI1_RXD6__ENET1_RGMII_RD2		0x90
			MX8MP_IOMUXC_SAI1_RXD7__ENET1_RGMII_RD3		0x90
			MX8MP_IOMUXC_SAI1_TXC__ENET1_RGMII_RXC		0x90
			MX8MP_IOMUXC_SAI1_TXFS__ENET1_RGMII_RX_CTL	0x90
			MX8MP_IOMUXC_SAI1_TXD0__ENET1_RGMII_TD0		0x16
			MX8MP_IOMUXC_SAI1_TXD1__ENET1_RGMII_TD1		0x16
			MX8MP_IOMUXC_SAI1_TXD2__ENET1_RGMII_TD2		0x16
			MX8MP_IOMUXC_SAI1_TXD3__ENET1_RGMII_TD3		0x16
			MX8MP_IOMUXC_SAI1_TXD4__ENET1_RGMII_TX_CTL	0x16
			MX8MP_IOMUXC_SAI1_TXD5__ENET1_RGMII_TXC		0x16
			//MX8MP_IOMUXC_SAI1_RXD0__GPIO4_IO02		0x10
			MX8MP_IOMUXC_SAI1_RXD1__ENET1_1588_EVENT1_OUT   0x16
			MX8MP_IOMUXC_SAI1_RXD0__ENET1_1588_EVENT1_IN    0x16
			MX8MP_IOMUXC_SAI1_TXD7__GPIO4_IO19		0x10
		>;
	};

	pinctrl_flexcan1: flexcan1grp {
		fsl,pins = <
			//MX8MP_IOMUXC_SPDIF_RX__CAN1_RX          0x154
			//MX8MP_IOMUXC_SPDIF_TX__CAN1_TX          0x154
			MX8MP_IOMUXC_SAI5_RXD2__CAN1_RX          0x154
			MX8MP_IOMUXC_SAI5_RXD1__CAN1_TX          0x154
		>;
	};

	pinctrl_flexcan2: flexcan2grp {
		fsl,pins = <
			MX8MP_IOMUXC_SAI5_MCLK__CAN2_RX         0x154
			MX8MP_IOMUXC_SAI5_RXD3__CAN2_TX         0x154
		>;
	};
#if 0	
	pinctrl_flexcan1_reg: flexcan1reggrp {
		fsl,pins = <
			MX8MP_IOMUXC_SPDIF_EXT_CLK__GPIO5_IO05  0x154   /* CAN1_STBY */
		>;
	};

	pinctrl_flexcan2_reg: flexcan2reggrp {
		fsl,pins = <
			MX8MP_IOMUXC_SAI2_MCLK__GPIO4_IO27      0x154   /* CAN2_STBY */
		>;
	};
#endif
	pinctrl_flexspi0: flexspi0grp {
		fsl,pins = <
			MX8MP_IOMUXC_NAND_ALE__FLEXSPI_A_SCLK           0x1c2
			MX8MP_IOMUXC_NAND_CE0_B__FLEXSPI_A_SS0_B        0x82
			MX8MP_IOMUXC_NAND_DATA00__FLEXSPI_A_DATA00      0x82
			MX8MP_IOMUXC_NAND_DATA01__FLEXSPI_A_DATA01      0x82
			MX8MP_IOMUXC_NAND_DATA02__FLEXSPI_A_DATA02      0x82
			MX8MP_IOMUXC_NAND_DATA03__FLEXSPI_A_DATA03      0x82
		>;
	};

	pinctrl_gpio_led: gpioledgrp {
		fsl,pins = <
			MX8MP_IOMUXC_NAND_READY_B__GPIO3_IO16	0x140
		>;
	};

	pinctrl_i2c1: i2c1grp {
		fsl,pins = <
			MX8MP_IOMUXC_I2C1_SCL__I2C1_SCL		0x400001c2
			MX8MP_IOMUXC_I2C1_SDA__I2C1_SDA		0x400001c2
		>;
	};

	pinctrl_i2c2: i2c2grp {
		fsl,pins = <
			MX8MP_IOMUXC_I2C2_SCL__I2C2_SCL		0x400001c2
			MX8MP_IOMUXC_I2C2_SDA__I2C2_SDA		0x400001c2
		>;
	};

	pinctrl_i2c3: i2c3grp {
		fsl,pins = <
			MX8MP_IOMUXC_I2C3_SCL__I2C3_SCL		0x400001c2
			MX8MP_IOMUXC_I2C3_SDA__I2C3_SDA		0x400001c2
		>;
	};
	pinctrl_i2c4: i2c4grp {
		fsl,pins = <
			MX8MP_IOMUXC_I2C4_SCL__I2C4_SCL		0x400001c3
			MX8MP_IOMUXC_I2C4_SDA__I2C4_SDA		0x400001c3
		>;
	};
/*
	pinctrl_i2c5: i2c5grp {
		fsl,pins = <
			MX8MP_IOMUXC_SPDIF_RX__I2C5_SDA         0x400001c2
			MX8MP_IOMUXC_SPDIF_TX__I2C5_SCL         0x400001c2
		>;
	};
*/
	pinctrl_i2c6: i2c6grp {
		fsl,pins = <
			MX8MP_IOMUXC_SAI5_RXFS__I2C6_SCL		0x400001c3
			MX8MP_IOMUXC_SAI5_RXC__I2C6_SDA		0x400001c3
		>;
	};
	
	pinctrl_rtc_int: rtcintgrp {
		fsl,pins = <
			MX8MP_IOMUXC_SD1_STROBE__GPIO2_IO11 0x140
		>;
	};
	pinctrl_mipi_dsi_en: mipi_dsi_en {
		fsl,pins = <
			MX8MP_IOMUXC_GPIO1_IO08__GPIO1_IO08	0x16
		>;
	};

	pinctrl_pcie0: pcie0grp {
		fsl,pins = <
			MX8MP_IOMUXC_I2C4_SCL__PCIE_CLKREQ_B	0x60 /* open drain, pull up */
			MX8MP_IOMUXC_SD1_DATA5__GPIO2_IO07	0x40
			MX8MP_IOMUXC_I2C4_SDA__GPIO5_IO21	0x1c4
		>;
	};

	pinctrl_pcie0_reg: pcie0reggrp {
		fsl,pins = <
			MX8MP_IOMUXC_SD1_DATA4__GPIO2_IO06	0x40
		>;
	};

	pinctrl_pmic: pmicgrp {
		fsl,pins = <
			MX8MP_IOMUXC_GPIO1_IO03__GPIO1_IO03	0x000001c0
		>;
	};
#if 0
	pinctrl_pca6416_int: pca6416_int_grp {
		fsl,pins = <
			MX8MP_IOMUXC_GPIO1_IO12__GPIO1_IO12	0x146 /* Input pull-up. */
		>;
	};
#endif

	pinctrl_reg_usdhc2_vmmc: regusdhc2vmmcgrp {
		fsl,pins = <
			MX8MP_IOMUXC_SD2_RESET_B__GPIO2_IO19	0x40
		>;
	};

	pinctrl_pdm: pdmgrp {
		fsl,pins = <
			MX8MP_IOMUXC_SAI5_RXC__AUDIOMIX_PDM_CLK		0xd6
			MX8MP_IOMUXC_SAI5_RXD0__AUDIOMIX_PDM_BIT_STREAM00	0xd6
			MX8MP_IOMUXC_SAI5_RXD1__AUDIOMIX_PDM_BIT_STREAM01	0xd6
			MX8MP_IOMUXC_SAI5_RXD2__AUDIOMIX_PDM_BIT_STREAM02	0xd6
			MX8MP_IOMUXC_SAI5_RXD3__AUDIOMIX_PDM_BIT_STREAM03	0xd6
		>;
	};
#if 0
	pinctrl_sai2: sai2grp {
		fsl,pins = <
			MX8MP_IOMUXC_SAI2_TXC__AUDIOMIX_SAI2_TX_BCLK	0xd6
			MX8MP_IOMUXC_SAI2_TXFS__AUDIOMIX_SAI2_TX_SYNC	0xd6
			MX8MP_IOMUXC_SAI2_TXD0__AUDIOMIX_SAI2_TX_DATA00	0xd6
			MX8MP_IOMUXC_SAI2_RXD0__AUDIOMIX_SAI2_RX_DATA00	0xd6
		>;
	};
#endif
	pinctrl_sai3: sai3grp {
		fsl,pins = <
			MX8MP_IOMUXC_SAI3_TXFS__AUDIOMIX_SAI3_TX_SYNC	0xd6
			MX8MP_IOMUXC_SAI3_TXC__AUDIOMIX_SAI3_TX_BCLK	0xd6
			MX8MP_IOMUXC_SAI3_RXD__AUDIOMIX_SAI3_RX_DATA00	0xd6
			MX8MP_IOMUXC_SAI3_TXD__AUDIOMIX_SAI3_TX_DATA00	0xd6
			MX8MP_IOMUXC_SAI3_MCLK__AUDIOMIX_SAI3_MCLK	0xd6
			MX8MP_IOMUXC_SAI3_RXFS__AUDIOMIX_SAI3_RX_SYNC	0xd6
			MX8MP_IOMUXC_SAI3_RXC__GPIO4_IO29		0xd6
		>;
	};
/*
	pinctrl_i2c2_synaptics_dsx_io: synaptics_dsx_iogrp {
		fsl,pins = <
			MX8MP_IOMUXC_GPIO1_IO09__GPIO1_IO09		0x16
		>;
	};
*/
	pinctrl_uart1: uart1grp {
		fsl,pins = <
			MX8MP_IOMUXC_UART1_RXD__UART1_DCE_RX	0x140
			MX8MP_IOMUXC_UART1_TXD__UART1_DCE_TX	0x140
			//MX8MP_IOMUXC_UART3_RXD__UART1_DCE_CTS	0x140
			//MX8MP_IOMUXC_UART3_TXD__UART1_DCE_RTS	0x140
			MX8MP_IOMUXC_SAI2_TXFS__UART1_DCE_CTS	0x140
			MX8MP_IOMUXC_SAI2_RXD0__UART1_DCE_RTS	0x140
		>;
	};
/*
	pinctrl_typec: typec1grp {
		fsl,pins = <
			MX8MP_IOMUXC_SAI1_TXD7__GPIO4_IO19	0x1c4
		>;
	};
	pinctrl_typec_mux: typec1muxgrp {
		fsl,pins = <
			MX8MP_IOMUXC_SAI1_MCLK__GPIO4_IO20	0x16
		>;
	};
*/

	pinctrl_uart2: uart2grp {
		fsl,pins = <
			MX8MP_IOMUXC_UART2_RXD__UART2_DCE_RX	0x14f
			MX8MP_IOMUXC_UART2_TXD__UART2_DCE_TX	0x14f
		>;
	};
	pinctrl_uart3: uart3grp {
		fsl,pins = <
			MX8MP_IOMUXC_UART3_RXD__UART3_DCE_RX		0x49
			MX8MP_IOMUXC_UART3_TXD__UART3_DCE_TX		0x49
		>;
	};
	
	pinctrl_uart4: uart4grp {
		fsl,pins = <
			MX8MP_IOMUXC_UART4_RXD__UART4_DCE_RX	0x49
			MX8MP_IOMUXC_UART4_TXD__UART4_DCE_TX	0x49
		>;
	};
	pinctrl_usb1_vbus: usb1grp {
		fsl,pins = <
			//MX8MP_IOMUXC_GPIO1_IO14__GPIO1_IO14		0x10
			MX8MP_IOMUXC_SAI2_TXC__GPIO4_IO25	 0x19 /*rst*/
			MX8MP_IOMUXC_SAI2_TXD0__GPIO4_IO26	0x19  /*pwd*/
		>;
	};

	pinctrl_bt_ctrl: bt_ctrl {
		fsl,pins = <
			MX8MP_IOMUXC_SD1_DATA4__GPIO2_IO06        0x41
			MX8MP_IOMUXC_SD1_DATA5__GPIO2_IO07        0x41
			MX8MP_IOMUXC_SD1_DATA6__GPIO2_IO08        0x16
		>;
	};

	//WL_REG_ON
	pinctrl_wlan_reg_on: wlan-reg-on-grp {
		fsl,pins = <
			MX8MP_IOMUXC_SD1_RESET_B__GPIO2_IO10     0x41
		>;
	};
	pinctrl_wlan_wake_host: wlanwakehostgrp {
		fsl,pins = <
			MX8MP_IOMUXC_GPIO1_IO00__ANAMIX_REF_CLK_32K      0x141
      			MX8MP_IOMUXC_SD1_DATA7__GPIO2_IO09                0x111 //WL_WAKE_HOST
		>;
	};

	pinctrl_usdhc1: usdhc1grp {
		fsl,pins = <
			MX8MP_IOMUXC_SD1_CLK__USDHC1_CLK	0x190
			MX8MP_IOMUXC_SD1_CMD__USDHC1_CMD	0x1d0
			MX8MP_IOMUXC_SD1_DATA0__USDHC1_DATA0	0x1d0
			MX8MP_IOMUXC_SD1_DATA1__USDHC1_DATA1	0x1d0
			MX8MP_IOMUXC_SD1_DATA2__USDHC1_DATA2	0x1d0
			MX8MP_IOMUXC_SD1_DATA3__USDHC1_DATA3	0x1d0
		>;
	};

		pinctrl_usdhc1_100mhz: usdhc1grp100mhz {
		fsl,pins = <
			MX8MP_IOMUXC_SD1_CLK__USDHC1_CLK         0x194
			MX8MP_IOMUXC_SD1_CMD__USDHC1_CMD         0x1d4
			MX8MP_IOMUXC_SD1_DATA0__USDHC1_DATA0     0x1d4
			MX8MP_IOMUXC_SD1_DATA1__USDHC1_DATA1     0x1d4
			MX8MP_IOMUXC_SD1_DATA2__USDHC1_DATA2     0x1d4
			MX8MP_IOMUXC_SD1_DATA3__USDHC1_DATA3     0x1d4
		>;
  	};

	pinctrl_usdhc1_200mhz: usdhc1grp200mhz {
		fsl,pins = <
			MX8MP_IOMUXC_SD1_CLK__USDHC1_CLK         0x196
			MX8MP_IOMUXC_SD1_CMD__USDHC1_CMD         0x1d6
			MX8MP_IOMUXC_SD1_DATA0__USDHC1_DATA0     0x1d6
			MX8MP_IOMUXC_SD1_DATA1__USDHC1_DATA1     0x1d6
			MX8MP_IOMUXC_SD1_DATA2__USDHC1_DATA2     0x1d6
			MX8MP_IOMUXC_SD1_DATA3__USDHC1_DATA3     0x1d6
		>;
	};
	pinctrl_usdhc2: usdhc2grp {
		fsl,pins = <
			MX8MP_IOMUXC_SD2_CLK__USDHC2_CLK	0x190
			MX8MP_IOMUXC_SD2_CMD__USDHC2_CMD	0x1d0
			MX8MP_IOMUXC_SD2_DATA0__USDHC2_DATA0	0x1d0
			MX8MP_IOMUXC_SD2_DATA1__USDHC2_DATA1	0x1d0
			MX8MP_IOMUXC_SD2_DATA2__USDHC2_DATA2	0x1d0
			MX8MP_IOMUXC_SD2_DATA3__USDHC2_DATA3	0x1d0
			MX8MP_IOMUXC_GPIO1_IO04__USDHC2_VSELECT	0xc1
		>;
	};

	pinctrl_usdhc2_100mhz: usdhc2-100mhzgrp {
		fsl,pins = <
			MX8MP_IOMUXC_SD2_CLK__USDHC2_CLK	0x194
			MX8MP_IOMUXC_SD2_CMD__USDHC2_CMD	0x1d4
			MX8MP_IOMUXC_SD2_DATA0__USDHC2_DATA0	0x1d4
			MX8MP_IOMUXC_SD2_DATA1__USDHC2_DATA1	0x1d4
			MX8MP_IOMUXC_SD2_DATA2__USDHC2_DATA2	0x1d4
			MX8MP_IOMUXC_SD2_DATA3__USDHC2_DATA3	0x1d4
			MX8MP_IOMUXC_GPIO1_IO04__USDHC2_VSELECT 0xc1
		>;
	};

	pinctrl_usdhc2_200mhz: usdhc2-200mhzgrp {
		fsl,pins = <
			MX8MP_IOMUXC_SD2_CLK__USDHC2_CLK	0x196
			MX8MP_IOMUXC_SD2_CMD__USDHC2_CMD	0x1d6
			MX8MP_IOMUXC_SD2_DATA0__USDHC2_DATA0	0x1d6
			MX8MP_IOMUXC_SD2_DATA1__USDHC2_DATA1	0x1d6
			MX8MP_IOMUXC_SD2_DATA2__USDHC2_DATA2	0x1d6
			MX8MP_IOMUXC_SD2_DATA3__USDHC2_DATA3	0x1d6
			MX8MP_IOMUXC_GPIO1_IO04__USDHC2_VSELECT 0xc1
		>;
	};

	pinctrl_usdhc2_gpio: usdhc2gpiogrp {
		fsl,pins = <
			MX8MP_IOMUXC_SD2_CD_B__GPIO2_IO12	0x1c4
		>;
	};

	pinctrl_usdhc3: usdhc3grp {
		fsl,pins = <
			MX8MP_IOMUXC_NAND_WE_B__USDHC3_CLK	0x190
			MX8MP_IOMUXC_NAND_WP_B__USDHC3_CMD	0x1d0
			MX8MP_IOMUXC_NAND_DATA04__USDHC3_DATA0	0x1d0
			MX8MP_IOMUXC_NAND_DATA05__USDHC3_DATA1	0x1d0
			MX8MP_IOMUXC_NAND_DATA06__USDHC3_DATA2	0x1d0
			MX8MP_IOMUXC_NAND_DATA07__USDHC3_DATA3	0x1d0
			MX8MP_IOMUXC_NAND_RE_B__USDHC3_DATA4	0x1d0
			MX8MP_IOMUXC_NAND_CE2_B__USDHC3_DATA5	0x1d0
			MX8MP_IOMUXC_NAND_CE3_B__USDHC3_DATA6	0x1d0
			MX8MP_IOMUXC_NAND_CLE__USDHC3_DATA7	0x1d0
			MX8MP_IOMUXC_NAND_CE1_B__USDHC3_STROBE	0x190
		>;
	};

	pinctrl_usdhc3_100mhz: usdhc3-100mhzgrp {
		fsl,pins = <
			MX8MP_IOMUXC_NAND_WE_B__USDHC3_CLK	0x194
			MX8MP_IOMUXC_NAND_WP_B__USDHC3_CMD	0x1d4
			MX8MP_IOMUXC_NAND_DATA04__USDHC3_DATA0	0x1d4
			MX8MP_IOMUXC_NAND_DATA05__USDHC3_DATA1	0x1d4
			MX8MP_IOMUXC_NAND_DATA06__USDHC3_DATA2	0x1d4
			MX8MP_IOMUXC_NAND_DATA07__USDHC3_DATA3	0x1d4
			MX8MP_IOMUXC_NAND_RE_B__USDHC3_DATA4	0x1d4
			MX8MP_IOMUXC_NAND_CE2_B__USDHC3_DATA5	0x1d4
			MX8MP_IOMUXC_NAND_CE3_B__USDHC3_DATA6	0x1d4
			MX8MP_IOMUXC_NAND_CLE__USDHC3_DATA7	0x1d4
			MX8MP_IOMUXC_NAND_CE1_B__USDHC3_STROBE	0x194
		>;
	};

	pinctrl_usdhc3_200mhz: usdhc3-200mhzgrp {
		fsl,pins = <
			MX8MP_IOMUXC_NAND_WE_B__USDHC3_CLK	0x196
			MX8MP_IOMUXC_NAND_WP_B__USDHC3_CMD	0x1d6
			MX8MP_IOMUXC_NAND_DATA04__USDHC3_DATA0	0x1d6
			MX8MP_IOMUXC_NAND_DATA05__USDHC3_DATA1	0x1d6
			MX8MP_IOMUXC_NAND_DATA06__USDHC3_DATA2	0x1d6
			MX8MP_IOMUXC_NAND_DATA07__USDHC3_DATA3	0x1d6
			MX8MP_IOMUXC_NAND_RE_B__USDHC3_DATA4	0x1d6
			MX8MP_IOMUXC_NAND_CE2_B__USDHC3_DATA5	0x1d6
			MX8MP_IOMUXC_NAND_CE3_B__USDHC3_DATA6	0x1d6
			MX8MP_IOMUXC_NAND_CLE__USDHC3_DATA7	0x1d6
			MX8MP_IOMUXC_NAND_CE1_B__USDHC3_STROBE	0x196
		>;
	};

	pinctrl_wdog: wdoggrp {
		fsl,pins = <
			MX8MP_IOMUXC_GPIO1_IO02__WDOG1_WDOG_B	0x166
		>;
	};

	pinctrl_csi0_pwn: csi0_pwn_grp {
		fsl,pins = <
			//MX8MP_IOMUXC_SD1_STROBE__GPIO2_IO11	0x10
			MX8MP_IOMUXC_GPIO1_IO15__GPIO1_IO15	0x19 //io board imx219 pwn
		>;
	};

	pinctrl_csi0_rst: csi0_rst_grp {
		fsl,pins = <
			MX8MP_IOMUXC_GPIO1_IO06__GPIO1_IO06		0x10
		>;
	};

	pinctrl_csi_mclk: csi_mclk_grp {
		fsl,pins = <
			MX8MP_IOMUXC_GPIO1_IO15__CCM_CLKO2	0x50
		>;
	};
};

&vpu_g1 {
	status = "okay";
};

&vpu_g2 {
	status = "okay";
};

&vpu_vc8000e {
	status = "okay";
};

&vpu_v4l2 {
	status = "okay";
};

&gpu_3d {
	status = "okay";
};

&gpu_2d {
	status = "okay";
};

&ml_vipsi {
	status = "okay";
};

&mix_gpu_ml {
	status = "okay";
};

&mipi_csi_0 {
	status = "okay";

	port {
		mipi_csi0_ep: endpoint {
			remote-endpoint = <&imx219_mipi_0_ep>;
			data-lanes = <2>;
			csis-hs-settle = <13>;
			csis-clk-settle = <2>;
			csis-wclk;
		};
	};

};

&mipi_csi_1 {
	#address-cells = <1>;
	#size-cells = <0>;
	status = "disabled";
/*
	port@1 {
		reg = <1>;
		mipi_csi1_ep: endpoint {
			remote-endpoint = <&ov5640_mipi_1_ep>;
			data-lanes = <2>;
			csis-hs-settle = <13>;
			csis-clk-settle = <2>;
			csis-wclk;
		};
	};
*/
};

&cameradev {
	status = "okay";
};

&isi_0 {
	status = "disabled";

	cap_device {
		status = "okay";
	};

	m2m_device {
		status = "disabled";
	};
};

&isi_1 {
	status = "disabled";

	cap_device {
		status = "okay";
	};
};
&isp_0 {
	status = "okay";
};

&dewarp {
	status = "okay";
};
